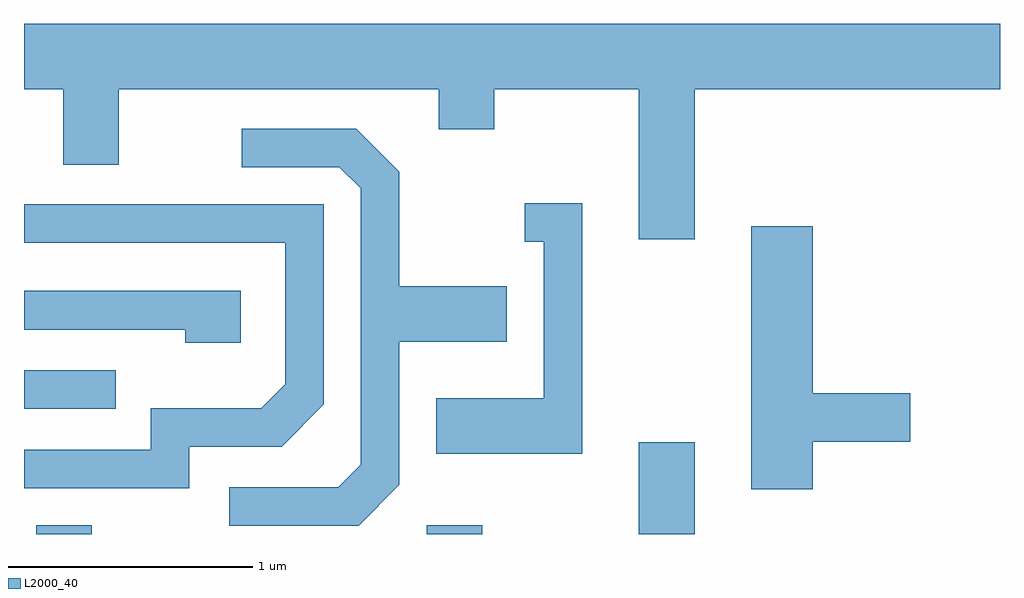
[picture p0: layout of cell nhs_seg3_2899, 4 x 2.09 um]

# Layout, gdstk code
import gdstk
lib = gdstk.Library(unit=1e-6, precision=1e-09)
def R(c, l, rs):  # rectangles x0, y0, x1, y1
    for r in rs: c.add(gdstk.rectangle(r[:2], r[2:], *l))
def P(c, l, *ps):  # polygons
    for p in ps: c.add(gdstk.Polygon(p, *l))
L2000_40 = (2000, 40)

nhs_seg3_2899 = lib.new_cell('nhs_seg3_2899')
R(nhs_seg3_2899, L2000_40, [(269.661,1201.892,269.889,1201.929), (271.261,1201.892,271.489,1201.929), (272.131,1201.892,272.359,1202.269), (269.611,1202.406,269.988,1202.564)])
P(nhs_seg3_2899, L2000_40, [(272.359,1203.716),(273.611,1203.716),(273.611,1203.984),(269.611,1203.984),(269.611,1203.716),(269.771,1203.716),(269.771,1203.406),(269.999,1203.406),(269.999,1203.716),(271.311,1203.716),(271.311,1203.551),(271.539,1203.551),(271.539,1203.716),(272.131,1203.716),(272.131,1203.101),(272.359,1203.101)],
  [(271.149,1202.094),(271.149,1202.681),(271.589,1202.681),(271.589,1202.909),(271.149,1202.909),(271.149,1203.377),(270.972,1203.554),(270.503,1203.554),(270.503,1203.396),(270.904,1203.396),(270.991,1203.309),(270.991,1202.177),(270.899,1202.084),(270.453,1202.084),(270.453,1201.926),(270.982,1201.926)],
  [(271.899,1203.249),(271.663,1203.249),(271.663,1203.091),(271.741,1203.091),(271.741,1202.449),(271.301,1202.449),(271.301,1202.221),(271.899,1202.221)],
  [(270.289,1202.251),(270.667,1202.251),(270.839,1202.424),(270.839,1203.244),(269.611,1203.244),(269.611,1203.086),(270.681,1203.086),(270.681,1202.507),(270.584,1202.409),(270.131,1202.409),(270.131,1202.239),(269.611,1202.239),(269.611,1202.081),(270.289,1202.081)],
  [(272.844,1202.271),(273.244,1202.271),(273.244,1202.469),(272.844,1202.469),(272.844,1203.154),(272.591,1203.154),(272.591,1202.076),(272.844,1202.076)],
  [(270.499,1202.889),(269.611,1202.889),(269.611,1202.731),(270.271,1202.731),(270.271,1202.676),(270.499,1202.676)])

lib.write_gds('nhs_seg3_2899.gds')
